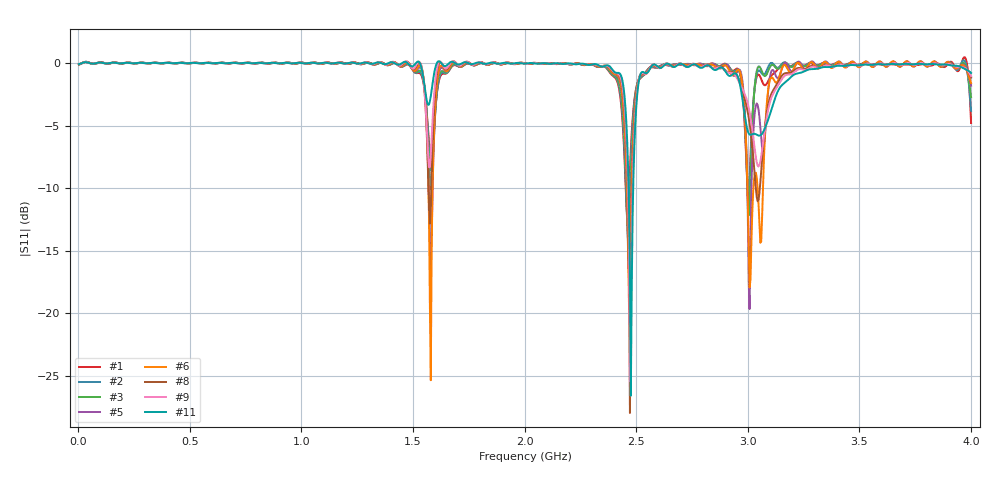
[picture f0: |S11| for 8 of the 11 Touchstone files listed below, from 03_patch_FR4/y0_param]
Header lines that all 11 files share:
! TOUCHSTONE file generated by CST MICROWAVE STUDIO
! Project name: AppElm_antenne_patch_FR4.cst
! Header version: 2018
! Port assignment regex: !\s*Touchstone port\s*([0-9]+)\s*=\s*(CST MWS port|CST DS port)\s*([0-9]+|Zmin|Zmax)\s*\(\"(.*)\"\)(\s*mode\s*([0-9]+))?.*
! Touchstone port assignment:
! Touchstone port 1 = CST MWS port 1 ("")
# GHz S MA R 50
Fixed: L = 45, W = 58.5, e = 0.035, h = 1.6, lambda = 0.190476, ls = 120, w0 = 2.54, w1 = 0.847, ws = 120, y1 = 23.8
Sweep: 4 MHz to 4 GHz
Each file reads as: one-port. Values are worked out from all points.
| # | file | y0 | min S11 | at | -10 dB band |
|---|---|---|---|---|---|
| 1 | AppElm_antenne_patch_FR4_1.s1p | 13.5 | -12.3 dB | 2.46 GHz | 15.53 MHz wide |
| 2 | AppElm_antenne_patch_FR4_2.s1p | 14.4 | -13.2 dB | 2.464 GHz | 17.31 MHz wide |
| 3 | AppElm_antenne_patch_FR4_3.s1p | 15.3 | -14.5 dB | 2.464 GHz | 18.78 MHz wide |
| 4 | AppElm_antenne_patch_FR4_4.s1p | 16.2 | -15.5 dB | 2.468 GHz | 19.59 MHz wide |
| 5 | AppElm_antenne_patch_FR4_5.s1p | 17.1 | -19.7 dB | 3.008 GHz | 16.83 MHz wide |
| 6 | AppElm_antenne_patch_FR4_6.s1p | 18 | -25.4 dB | 1.58 GHz | 26.92 MHz wide |
| 7 | AppElm_antenne_patch_FR4_7.s1p | 18.9 | -24.5 dB | 3.044 GHz | 46.63 MHz wide |
| 8 | AppElm_antenne_patch_FR4_8.s1p | 19.8 | -28.0 dB | 2.472 GHz | 21.59 MHz wide |
| 9 | AppElm_antenne_patch_FR4_9.s1p | 20.7 | -25.4 dB | 2.472 GHz | 21.18 MHz wide |
| 10 | AppElm_antenne_patch_FR4_10.s1p | 21.6 | -29.2 dB | 2.476 GHz | 21.06 MHz wide |
| 11 | AppElm_antenne_patch_FR4_11.s1p | 22.5 | -26.6 dB | 2.476 GHz | 20.79 MHz wide |
